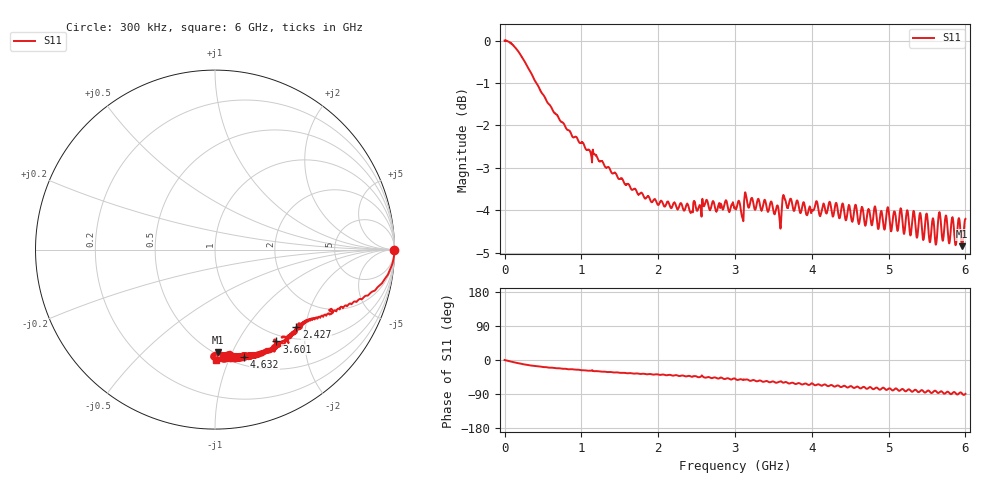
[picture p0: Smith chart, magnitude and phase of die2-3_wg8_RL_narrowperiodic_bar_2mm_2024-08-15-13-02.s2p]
!Keysight Technologies,P9374A,MY57304198,A.17.20.09
!Date: Thursday, August 15, 2024 13:02:40
!Correction: S11(C  1-Port  )
!S21(C  1-Port  )
!S12(Off)
!S22(Off)
!S2P File: Measurements: S11, S21, S12, S22:
# Hz S  dB  R 50
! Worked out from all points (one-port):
!   6000 points, 300 kHz to 6 GHz, reference 50 ohm
!   lowest |S11| = -4.8 dB at 5.957 GHz (marker M1), VSWR 3.68, Z = 25.9 - j44 ohm
!   |S11| at or under -10 dB: nowhere
!   S11 on the Smith chart (normalised r, x): 300 kHz: open; 2.427 GHz: 1.25, -1.78; 3.601 GHz: 0.89, -1.47; 4.632 GHz: 0.58, -1.13; 6 GHz: 0.45, -0.90
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300000  -0.00 -0.0  -200.00 45.0  -200.00 45.0  -200.00 45.0
2.373277e8  -0.42 -10.9  -200.00 45.0  -200.00 45.0  -200.00 45.0
4.053473e8  -0.98 -16.3  -200.00 45.0  -200.00 45.0  -200.00 45.0
1.000417e9  -2.40 -26.9  -200.00 45.0  -200.00 45.0  -200.00 45.0
2.000533e9  -3.88 -38.5  -200.00 45.0  -200.00 45.0  -200.00 45.0
2.426583e9  -4.06 -43.6  -200.00 45.0  -200.00 45.0  -200.00 45.0
3.00065e9  -3.95 -49.4  -200.00 45.0  -200.00 45.0  -200.00 45.0
3.376694e9  -3.79 -57.3  -200.00 45.0  -200.00 45.0  -200.00 45.0
3.60072e9  -4.22 -56.2  -200.00 45.0  -200.00 45.0  -200.00 45.0
3.712733e9  -3.77 -61.9  -200.00 45.0  -200.00 45.0  -200.00 45.0
4.000767e9  -3.99 -61.6  -200.00 45.0  -200.00 45.0  -200.00 45.0
4.63184e9  -4.14 -74.9  -200.00 45.0  -200.00 45.0  -200.00 45.0
5.000883e9  -4.01 -75.4  -200.00 45.0  -200.00 45.0  -200.00 45.0
5.388929e9  -4.35 -84.8  -200.00 45.0  -200.00 45.0  -200.00 45.0
5.430934e9  -4.36 -79.4  -200.00 45.0  -200.00 45.0  -200.00 45.0
5.472939e9  -4.39 -86.0  -200.00 45.0  -200.00 45.0  -200.00 45.0
5.515944e9  -4.40 -80.4  -200.00 45.0  -200.00 45.0  -200.00 45.0
5.557948e9  -4.46 -87.1  -200.00 45.0  -200.00 45.0  -200.00 45.0
5.613955e9  -4.81 -81.6  -200.00 45.0  -200.00 45.0  -200.00 45.0
5.661961e9  -4.05 -85.2  -200.00 45.0  -200.00 45.0  -200.00 45.0
5.956995e9  -4.85 -88.6  -200.00 45.0  -200.00 45.0  -200.00 45.0
6e9  -4.21 -89.3  -200.00 45.0  -200.00 45.0  -200.00 45.0
